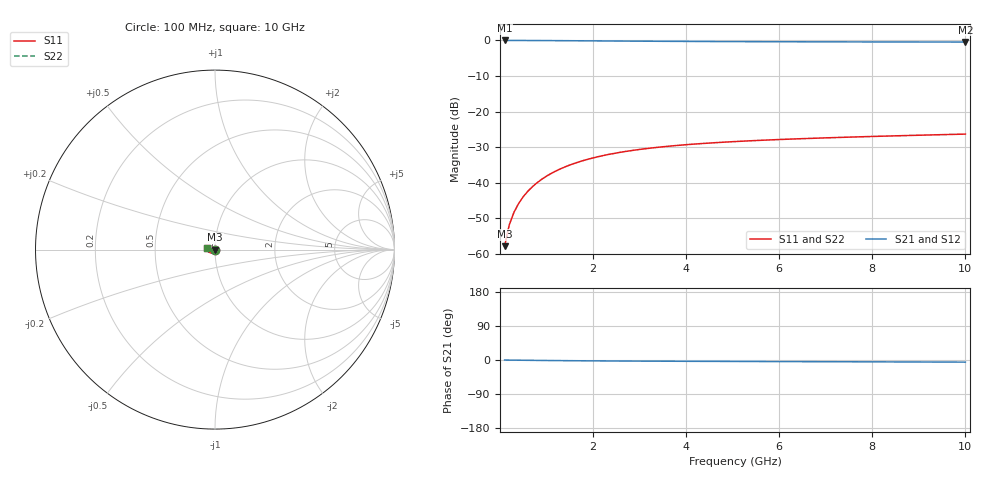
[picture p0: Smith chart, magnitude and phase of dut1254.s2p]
! Touchstone file exported from HFSS 2024.1.0
!  File:  C:/UserFiles/LocalFiles/RDL_TSV_Batchsim/temp_TSV1_1254_1780252715.aedt
!  Generated:  02:45:49 AM Jun  1, 2026
!  Design:  TSV1
!  Project:  temp_TSV1_1254_1780252715
!  Setup:  Setup1
!  Solution:  Sweep
! Variables:
!  dtsv = 10.29um
!  hbump = 3um
!  htsv = 86.18um
!  lrdl = 252.1521522um
!  p = 40
!  p1 = 57.06um
!  t = 500um
!  trdl = 3um
!  wrdl = 24.89489489um
# GHz S MA R 50.000000
! Terminal data exported
! Port[1] = TSV22_T1
! Port[2] = TSV22_T2
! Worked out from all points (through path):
!   100 points, 100 MHz to 10 GHz, reference 50 ohm
!   highest |S21| = 0.00 dB at 100 MHz (marker M1); lowest = -0.4 dB at 10 GHz (marker M2)
!   lowest |S11| = -57.8 dB at 100 MHz (marker M3), VSWR 1.00, Z = 50 - j0.128 ohm
!   |S11| at or under -10 dB: start of sweep to end of sweep
!   |S22| runs from -57.8 to -26.3 dB; largest |S21 - S12| = 3.3e-15
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0.1  0.001288 -85.7  0.9998 -0.1  0.9998 -0.1  0.001288 -85.7
! Gamma 0 0 0 0
! Port Impedance 50 0 50 0
0.2  0.002564 -90.7  0.9997 -0.3  0.9997 -0.3  0.002564 -90.7
0.3  0.00384 -93.7  0.9994 -0.4  0.9994 -0.4  0.00384 -93.7
0.4  0.005111 -96.2  0.9991 -0.5  0.9991 -0.5  0.005111 -96.2
0.5  0.006371 -98.5  0.9987 -0.7  0.9987 -0.7  0.006371 -98.5
0.6  0.007617 -100.7  0.9982 -0.8  0.9982 -0.8  0.007617 -100.7
0.7  0.008846 -102.9  0.9976 -0.9  0.9976 -0.9  0.008846 -102.9
0.8  0.01005 -104.9  0.997 -1.1  0.997 -1.1  0.01005 -104.9
0.9  0.01124 -107.0  0.9963 -1.2  0.9963 -1.2  0.01124 -107.0
1.1  0.01353 -110.9  0.9948 -1.4  0.9948 -1.4  0.01353 -110.9
1.4  0.01676 -116.5  0.9921 -1.7  0.9921 -1.7  0.01676 -116.5
1.6  0.01875 -120.1  0.9902 -1.9  0.9902 -1.9  0.01875 -120.1
1.8  0.02063 -123.5  0.9883 -2.1  0.9883 -2.1  0.02063 -123.5
2.1  0.0232 -128.3  0.9853 -2.4  0.9853 -2.4  0.0232 -128.3
2.5  0.02623 -134.3  0.9814 -2.6  0.9814 -2.6  0.02623 -134.3
2.9  0.02883 -139.8  0.9777 -2.9  0.9777 -2.9  0.02883 -139.8
3.4  0.03158 -145.9  0.9735 -3.1  0.9735 -3.1  0.03158 -145.9
4.2  0.03509 -154.5  0.9679 -3.5  0.9679 -3.5  0.03509 -154.5
5.1  0.03813 -162.7  0.9629 -3.8  0.9629 -3.8  0.03813 -162.7
6.7  0.04216 -174.5  0.9568 -4.4  0.9568 -4.4  0.04216 -174.5
8.4  0.04553 175.4  0.9526 -5.0  0.9526 -5.0  0.04553 175.4
10  0.04835 167.5  0.9499 -5.6  0.9499 -5.6  0.04835 167.5
